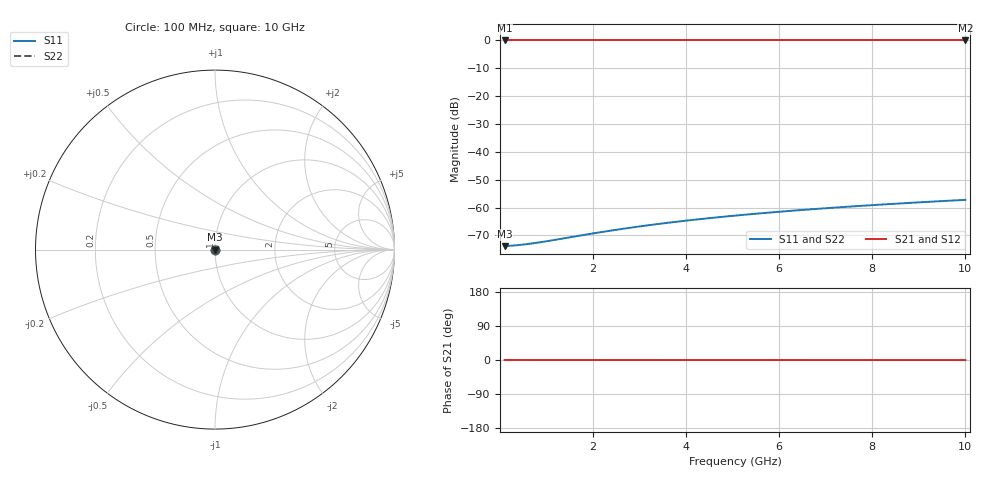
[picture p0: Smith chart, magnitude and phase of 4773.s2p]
# Hz S RI R 50.00
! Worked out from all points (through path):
!   100 points, 100 MHz to 10 GHz, reference 50 ohm
!   highest |S21| = 0.00 dB at 100 MHz (marker M1); lowest = 0.0 dB at 10 GHz (marker M2)
!   lowest |S11| = -73.8 dB at 100 MHz (marker M3), VSWR 1.00, Z = 50 + j0.00135 ohm
!   |S11| at or under -10 dB: start of sweep to end of sweep
!   |S22| runs from -73.8 to -57.2 dB; largest |S21 - S12| = 1e-15
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1e8  0.000203 1.35e-05  0.9998 -1.76e-05  0.9998 -1.76e-05  0.000203 1.35e-05
3e8  0.000205 4.06e-05  0.9998 -5.28e-05  0.9998 -5.28e-05  0.000205 4.06e-05
4e8  0.000206 5.41e-05  0.9998 -7.04e-05  0.9998 -7.04e-05  0.000206 5.41e-05
5e8  0.000206 6.77e-05  0.9998 -8.8e-05  0.9998 -8.8e-05  0.000206 6.77e-05
7e8  0.000208 9.47e-05  0.9998 -0.000123  0.9998 -0.000123  0.000208 9.47e-05
9e8  0.000208 0.000122  0.9998 -0.000158  0.9998 -0.000158  0.000208 0.000122
1.1e9  0.000209 0.000149  0.9998 -0.000194  0.9998 -0.000194  0.000209 0.000149
1.8e9  0.000211 0.000244  0.9998 -0.000317  0.9998 -0.000317  0.000211 0.000244
2.2e9  0.000212 0.000298  0.9998 -0.000387  0.9998 -0.000387  0.000212 0.000298
2.6e9  0.000213 0.000352  0.9998 -0.000458  0.9998 -0.000458  0.000213 0.000352
3e9  0.000214 0.000406  0.9998 -0.000528  0.9998 -0.000528  0.000214 0.000406
3.4e9  0.000215 0.00046  0.9998 -0.000599  0.9998 -0.000599  0.000215 0.00046
3.8e9  0.000215 0.000515  0.9998 -0.000669  0.9998 -0.000669  0.000215 0.000515
4.2e9  0.000216 0.000569  0.9998 -0.00074  0.9998 -0.00074  0.000216 0.000569
4.6e9  0.000217 0.000623  0.9998 -0.000811  0.9998 -0.000811  0.000217 0.000623
5.1e9  0.000217 0.000691  0.9998 -0.000899  0.9998 -0.000899  0.000217 0.000691
5.9e9  0.000218 0.000799  0.9998 -0.00104  0.9998 -0.00104  0.000218 0.000799
6.7e9  0.00022 0.000908  0.9998 -0.00118  0.9998 -0.00118  0.00022 0.000908
7.5e9  0.000221 0.00102  0.9998 -0.00132  0.9998 -0.00132  0.000221 0.00102
8.4e9  0.000222 0.00114  0.9998 -0.00148  0.9998 -0.00148  0.000222 0.00114
9.2e9  0.000223 0.00125  0.9998 -0.00162  0.9998 -0.00162  0.000223 0.00125
1e10  0.000224 0.00136  0.9998 -0.00177  0.9998 -0.00177  0.000224 0.00136
